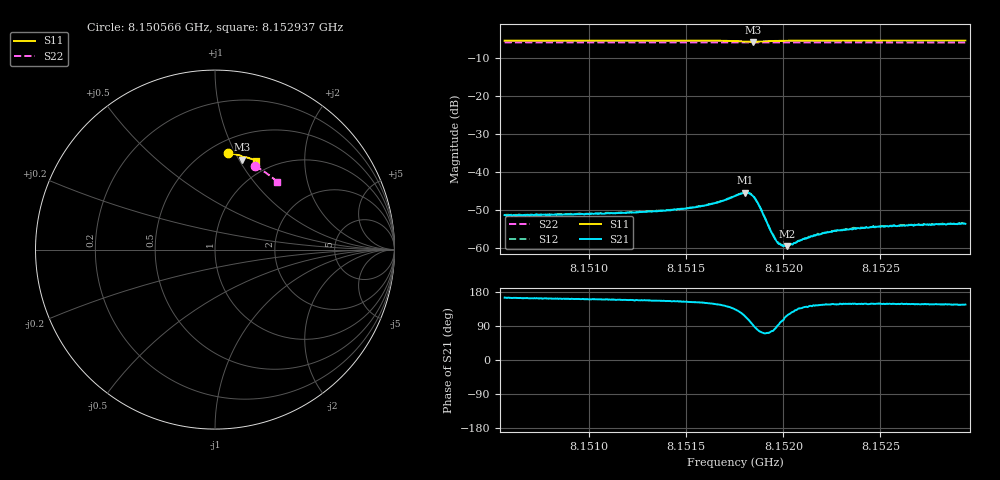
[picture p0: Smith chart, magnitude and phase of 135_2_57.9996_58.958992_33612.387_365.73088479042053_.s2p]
#  HZ  S  RI  R  50.00
! Rohde & Schwarz Vector Network Analyzer
! Rohde-Schwarz,ZNB20-2Port,1311601062101988,3.16
! Created: UTC 3/21/2024, 12:56:17 AM
! freq[Hz]  re:S11  im:S11  re:S21  im:S21  re:S12  im:S12  re:S22  im:S22
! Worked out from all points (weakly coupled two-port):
!   401 points, 8.150566 GHz to 8.152937 GHz, reference 50 ohm
!   highest |S21| = -45.33 dB at 8.151805 GHz (marker M1); lowest = -59.5 dB at 8.152018 GHz (marker M2)
!   lowest |S11| = -5.6 dB at 8.151846 GHz (marker M3), VSWR 3.19, Z = 37.5 + j51.6 ohm
!   |S11| at or under -10 dB: nowhere
!   |S22| runs from -5.8 to -5.8 dB; largest |S21 - S12| = 0.00013
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8.1505659e9  0.0719 0.537  -0.00264 0.000725  -0.00262 0.000792  0.2223 0.4645
8.150963e9  0.0999 0.533  -0.00267 0.000936  -0.00265 0.000991  0.2448 0.4525
8.1511883e9  0.1159 0.5301  -0.00271 0.00107  -0.00274 0.00112  0.2574 0.4448
8.1513602e9  0.1283 0.5273  -0.00284 0.00124  -0.00285 0.00131  0.2667 0.4391
8.151455e9  0.1353 0.5255  -0.00296 0.00136  -0.00294 0.00144  0.2719 0.4358
8.1515913e9  0.1461 0.5218  -0.00319 0.00174  -0.00318 0.00184  0.2793 0.4309
8.1516743e9  0.1533 0.5183  -0.0034 0.00231  -0.00339 0.00238  0.2836 0.4277
8.1517514e9  0.1598 0.5112  -0.0034 0.00352  -0.00337 0.00361  0.2876 0.4248
8.1518047e9  0.1593 0.5026  -0.00225 0.00493  -0.00219 0.00499  0.2903 0.4226
8.1518284e9  0.1554 0.4999  -0.00105 0.00511  -0.000997 0.00519  0.2912 0.4218
8.1518462e9  0.1516 0.5003  -6.44e-05 0.0048  -4.55e-05 0.00484  0.2919 0.4212
8.1518581e9  0.1495 0.5017  0.000432 0.00433  0.000441 0.00437  0.2926 0.4208
8.1518759e9  0.148 0.5047  0.000866 0.00351  0.000868 0.00354  0.2936 0.4202
8.1519351e9  0.1518 0.5132  0.00044 0.00163  0.000515 0.00163  0.2967 0.4183
8.1519648e9  0.1553 0.5149  7.31e-05 0.00125  6.75e-05 0.00126  0.2984 0.4174
8.1519885e9  0.1581 0.5157  -0.000213 0.00108  -0.000185 0.0011  0.2996 0.4163
8.1520181e9  0.1613 0.5158  -0.000477 0.000952  -0.00048 0.000964  0.3011 0.4154
8.1521485e9  0.173 0.5145  -0.00113 0.000884  -0.00114 0.000881  0.3078 0.4103
8.1522671e9  0.182 0.5122  -0.00142 0.000923  -0.00143 0.000958  0.3138 0.4056
8.152356e9  0.1887 0.5102  -0.00152 0.000914  -0.00154 0.00101  0.3182 0.4019
8.1525457e9  0.2017 0.5057  -0.00166 0.00102  -0.00166 0.00107  0.3275 0.3939
8.1529369e9  0.2276 0.4953  -0.00175 0.00116  -0.00175 0.0012  0.3459 0.3772
